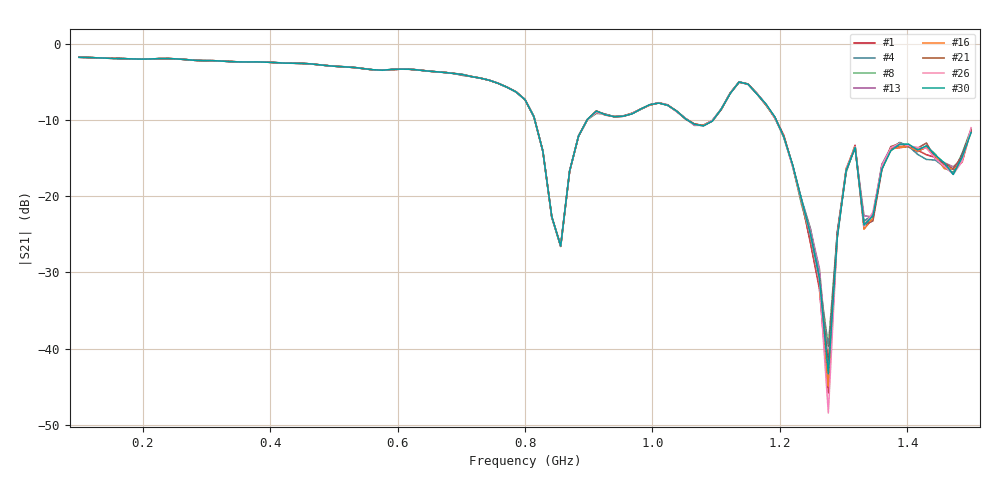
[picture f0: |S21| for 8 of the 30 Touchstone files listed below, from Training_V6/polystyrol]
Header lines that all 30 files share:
! NanoVNA-App
! Start: 100MHz Stop: 1,5GHz Points: 101
! S-Parameter data: F S11 S21 S12 S22
# Hz S RI R 50
!  Frequency  S11_Real  S11_Imag  S21_Real  S21_Imag  S12_Real  S12_Imag  S22_Real  S22_Imag
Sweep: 100 MHz to 1.5 GHz
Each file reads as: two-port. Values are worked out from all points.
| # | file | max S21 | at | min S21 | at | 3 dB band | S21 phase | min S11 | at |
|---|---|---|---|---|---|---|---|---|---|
| 1 | polystyrol (801).s2p | -1.80 dB | 100 MHz | -45.8 dB | 1.276 GHz | 100 MHz-730 MHz | 13 deg at 800 MHz | -39.1 dB | 128 MHz |
| 2 | polystyrol (804).s2p | -1.80 dB | 100 MHz | -47.8 dB | 1.276 GHz | 100 MHz-730 MHz | 13 deg at 800 MHz | -39.1 dB | 128 MHz |
| 3 | polystyrol (806).s2p | -1.80 dB | 100 MHz | -48.1 dB | 1.276 GHz | 100 MHz-730 MHz | 13 deg at 800 MHz | -39.1 dB | 128 MHz |
| 4 | polystyrol (807).s2p | -1.80 dB | 100 MHz | -44.2 dB | 1.276 GHz | 100 MHz-730 MHz | 13 deg at 800 MHz | -39.1 dB | 128 MHz |
| 5 | polystyrol (808).s2p | -1.80 dB | 100 MHz | -43.5 dB | 1.276 GHz | 100 MHz-730 MHz | 13 deg at 800 MHz | -39.1 dB | 128 MHz |
| 6 | polystyrol (809).s2p | -1.80 dB | 100 MHz | -49.8 dB | 1.276 GHz | 100 MHz-730 MHz | 13 deg at 800 MHz | -39.1 dB | 128 MHz |
| 7 | polystyrol (810).s2p | -1.80 dB | 100 MHz | -46.9 dB | 1.276 GHz | 100 MHz-730 MHz | 13 deg at 800 MHz | -39.1 dB | 128 MHz |
| 8 | polystyrol (811).s2p | -1.80 dB | 100 MHz | -39.7 dB | 1.276 GHz | 100 MHz-730 MHz | 13 deg at 800 MHz | -39.1 dB | 128 MHz |
| 9 | polystyrol (813).s2p | -1.80 dB | 100 MHz | -41.9 dB | 1.276 GHz | 100 MHz-730 MHz | 13 deg at 800 MHz | -39.1 dB | 128 MHz |
| 10 | polystyrol (814).s2p | -1.80 dB | 100 MHz | -42.3 dB | 1.276 GHz | 100 MHz-730 MHz | 13 deg at 800 MHz | -39.1 dB | 128 MHz |
| 11 | polystyrol (815).s2p | -1.80 dB | 100 MHz | -43.5 dB | 1.276 GHz | 100 MHz-730 MHz | 13 deg at 800 MHz | -39.1 dB | 128 MHz |
| 12 | polystyrol (816).s2p | -1.80 dB | 100 MHz | -49.4 dB | 1.276 GHz | 100 MHz-730 MHz | 13 deg at 800 MHz | -39.1 dB | 128 MHz |
| 13 | polystyrol (818).s2p | -1.80 dB | 100 MHz | -42.2 dB | 1.276 GHz | 100 MHz-730 MHz | 13 deg at 800 MHz | -39.1 dB | 128 MHz |
| 14 | polystyrol (819).s2p | -1.80 dB | 100 MHz | -41.4 dB | 1.276 GHz | 100 MHz-730 MHz | 13 deg at 800 MHz | -39.1 dB | 128 MHz |
| 15 | polystyrol (820).s2p | -1.80 dB | 100 MHz | -50.3 dB | 1.276 GHz | 100 MHz-730 MHz | 13 deg at 800 MHz | -39.1 dB | 128 MHz |
| 16 | polystyrol (822).s2p | -1.80 dB | 100 MHz | -45.0 dB | 1.276 GHz | 100 MHz-730 MHz | 13 deg at 800 MHz | -39.1 dB | 128 MHz |
| 17 | polystyrol (823).s2p | -1.80 dB | 100 MHz | -44.6 dB | 1.276 GHz | 100 MHz-730 MHz | 13 deg at 800 MHz | -39.1 dB | 128 MHz |
| 18 | polystyrol (824).s2p | -1.80 dB | 100 MHz | -48.8 dB | 1.276 GHz | 100 MHz-730 MHz | 13 deg at 800 MHz | -39.1 dB | 128 MHz |
| 19 | polystyrol (825).s2p | -1.80 dB | 100 MHz | -46.9 dB | 1.276 GHz | 100 MHz-730 MHz | 13 deg at 800 MHz | -39.1 dB | 128 MHz |
| 20 | polystyrol (827).s2p | -1.80 dB | 100 MHz | -40.1 dB | 1.276 GHz | 100 MHz-730 MHz | 13 deg at 800 MHz | -39.2 dB | 128 MHz |
| 21 | polystyrol (828).s2p | -1.80 dB | 100 MHz | -42.1 dB | 1.276 GHz | 100 MHz-730 MHz | 13 deg at 800 MHz | -39.1 dB | 128 MHz |
| 22 | polystyrol (829).s2p | -1.80 dB | 100 MHz | -49.6 dB | 1.276 GHz | 100 MHz-730 MHz | 13 deg at 800 MHz | -39.1 dB | 128 MHz |
| 23 | polystyrol (830).s2p | -1.80 dB | 100 MHz | -39.6 dB | 1.276 GHz | 100 MHz-730 MHz | 13 deg at 800 MHz | -39.1 dB | 128 MHz |
| 24 | polystyrol (831).s2p | -1.80 dB | 100 MHz | -49.4 dB | 1.276 GHz | 100 MHz-730 MHz | 13 deg at 800 MHz | -39.1 dB | 128 MHz |
| 25 | polystyrol (832).s2p | -1.80 dB | 100 MHz | -48.4 dB | 1.276 GHz | 100 MHz-730 MHz | 13 deg at 800 MHz | -39.1 dB | 128 MHz |
| 26 | polystyrol (833).s2p | -1.80 dB | 100 MHz | -48.5 dB | 1.276 GHz | 100 MHz-730 MHz | 13 deg at 800 MHz | -39.1 dB | 128 MHz |
| 27 | polystyrol (836).s2p | -1.80 dB | 100 MHz | -40.5 dB | 1.276 GHz | 100 MHz-730 MHz | 13 deg at 800 MHz | -39.1 dB | 128 MHz |
| 28 | polystyrol (837).s2p | -1.80 dB | 100 MHz | -52.7 dB | 1.276 GHz | 100 MHz-730 MHz | 13 deg at 800 MHz | -39.1 dB | 128 MHz |
| 29 | polystyrol (839).s2p | -1.80 dB | 100 MHz | -41.7 dB | 1.276 GHz | 100 MHz-730 MHz | 13 deg at 800 MHz | -39.1 dB | 128 MHz |
| 30 | polystyrol (840).s2p | -1.80 dB | 100 MHz | -43.3 dB | 1.276 GHz | 100 MHz-730 MHz | 13 deg at 800 MHz | -39.1 dB | 128 MHz |
